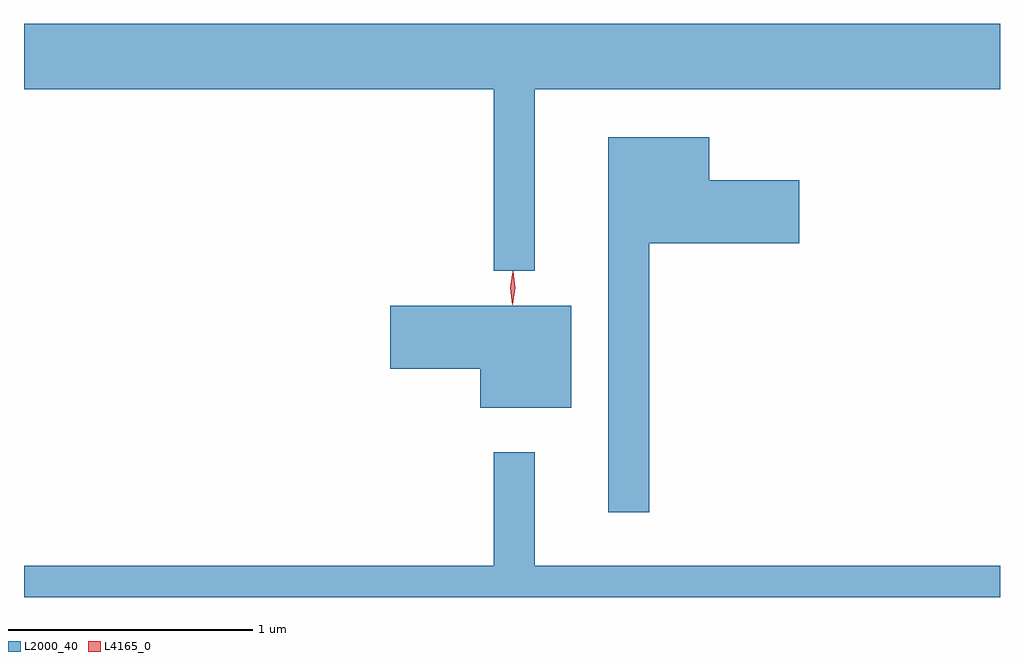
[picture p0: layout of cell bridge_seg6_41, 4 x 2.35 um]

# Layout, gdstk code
import gdstk
lib = gdstk.Library(unit=1e-6, precision=1e-09)
def P(c, l, *ps):  # polygons
    for p in ps: c.add(gdstk.Polygon(p, *l))
L2000_40 = (2000, 40)
L4165_0 = (4165, 0)

bridge_seg6_41 = lib.new_cell('bridge_seg6_41')
P(bridge_seg6_41, L2000_40, [(1597.469,1647.716),(1599.376,1647.716),(1599.376,1647.984),(1595.376,1647.984),(1595.376,1647.716),(1597.301,1647.716),(1597.301,1646.973),(1597.469,1646.973)],
  [(1597.939,1647.086),(1598.554,1647.086),(1598.554,1647.344),(1598.184,1647.344),(1598.184,1647.519),(1597.771,1647.519),(1597.771,1645.983),(1597.939,1645.983)],
  [(1597.619,1646.829),(1596.876,1646.829),(1596.876,1646.571),(1597.246,1646.571),(1597.246,1646.411),(1597.619,1646.411)],
  [(1599.376,1645.764),(1597.469,1645.764),(1597.469,1646.228),(1597.301,1646.228),(1597.301,1645.764),(1595.376,1645.764),(1595.376,1645.635),(1599.376,1645.635)])
P(bridge_seg6_41, L4165_0, [(1597.378,1646.834),(1597.369,1646.902),(1597.38,1646.97),(1597.38,1646.97),(1597.381,1646.97),(1597.389,1646.902),(1597.379,1646.834),(1597.379,1646.834)],
  [(1597.378,1646.84),(1597.378,1646.841),(1597.369,1646.904),(1597.38,1646.966),(1597.38,1646.967),(1597.381,1646.966),(1597.389,1646.904),(1597.379,1646.841)])

lib.write_gds('bridge_seg6_41.gds')
